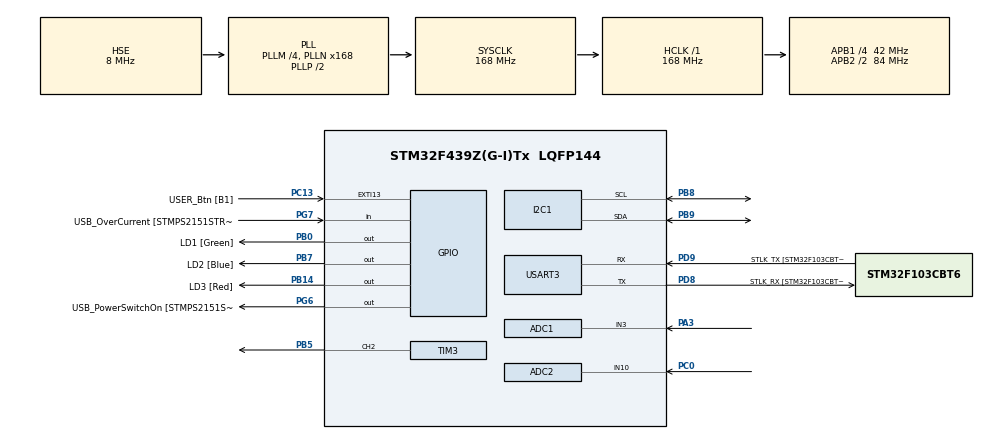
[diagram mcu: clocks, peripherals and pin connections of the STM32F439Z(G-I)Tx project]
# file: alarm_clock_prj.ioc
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ADC1.Channel-0\#ChannelRegularConversion=ADC_CHANNEL_3
ADC1.NbrOfConversionFlag=1
ADC1.Rank-0\#ChannelRegularConversion=1
ADC1.SamplingTime-0\#ChannelRegularConversion=ADC_SAMPLETIME_3CYCLES
ADC1.master=1
ADC2.Channel-0\#ChannelRegularConversion=ADC_CHANNEL_10
ADC2.NbrOfConversionFlag=1
ADC2.Rank-0\#ChannelRegularConversion=1
ADC2.SamplingTime-0\#ChannelRegularConversion=ADC_SAMPLETIME_3CYCLES
Mcu.Family=STM32F4
Mcu.Name=STM32F439Z(G-I)Tx
Mcu.Package=LQFP144
NVIC.ADC_IRQn=true\:0\:0\:false\:false\:true\:true\:true\:true
NVIC.EXTI15_10_IRQn=true\:0\:0\:false\:false\:true\:true\:true\:true
NVIC.I2C1_ER_IRQn=true\:0\:0\:false\:false\:true\:true\:true\:true
NVIC.I2C1_EV_IRQn=true\:0\:0\:false\:false\:true\:true\:true\:true
NVIC.PriorityGroup=NVIC_PRIORITYGROUP_4
NVIC.TIM2_IRQn=true\:0\:0\:false\:false\:true\:true\:true\:true
NVIC.USART3_IRQn=true\:0\:0\:false\:false\:true\:true\:true\:true
PA1.GPIO_Label=RMII_REF_CLK [LAN8742A-CZ-TR_REFCLK0]
PA1.Signal=ETH_REF_CLK
PA10.GPIO_Label=USB_ID
PA10.Signal=USB_OTG_FS_ID
PA11.GPIO_Label=USB_DM
PA11.Signal=USB_OTG_FS_DM
PA12.GPIO_Label=USB_DP
PA12.Signal=USB_OTG_FS_DP
PA13.GPIO_Label=TMS
PA13.Mode=Serial_Wire
PA13.Signal=SYS_JTMS-SWDIO
PA14.GPIO_Label=TCK
PA14.Mode=Serial_Wire
PA14.Signal=SYS_JTCK-SWCLK
PA2.GPIO_Label=RMII_MDIO [LAN8742A-CZ-TR_MDIO]
PA2.Signal=ETH_MDIO
PA3.Signal=ADCx_IN3
PA7.GPIO_Label=RMII_CRS_DV [LAN8742A-CZ-TR_CRS_DV]
PA7.Signal=ETH_CRS_DV
PA8.GPIO_Label=USB_SOF [TP1]
PA8.Signal=USB_OTG_FS_SOF
PA9.GPIO_Label=USB_VBUS
PA9.Signal=USB_OTG_FS_VBUS
PB0.GPIO_Label=LD1 [Green]
PB0.Signal=GPIO_Output
PB13.GPIO_Label=RMII_TXD1 [LAN8742A-CZ-TR_TXD1]
PB13.Signal=ETH_TXD1
PB14.GPIO_Label=LD3 [Red]
PB14.Signal=GPIO_Output
PB5.Signal=S_TIM3_CH2
PB7.GPIO_Label=LD2 [Blue]
PB7.Signal=GPIO_Output
PB8.Mode=I2C
PB8.Signal=I2C1_SCL
PB9.Mode=I2C
PB9.Signal=I2C1_SDA
PC0.Signal=ADCx_IN10
PC1.GPIO_Label=RMII_MDC [LAN8742A-CZ-TR_MDC]
PC1.Signal=ETH_MDC
PC13.GPIO_Label=USER_Btn [B1]
PC13.GPIO_ModeDefaultEXTI=GPIO_MODE_IT_RISING_FALLING
PC13.Signal=GPXTI13
PC14/OSC32_IN.Mode=LSE-External-Oscillator
PC14/OSC32_IN.Signal=RCC_OSC32_IN
PC15/OSC32_OUT.Mode=LSE-External-Oscillator
PC15/OSC32_OUT.Signal=RCC_OSC32_OUT
PC4.GPIO_Label=RMII_RXD0 [LAN8742A-CZ-TR_RXD0]
PC4.Signal=ETH_RXD0
PC5.GPIO_Label=RMII_RXD1 [LAN8742A-CZ-TR_RXD1]
PC5.Signal=ETH_RXD1
PD8.GPIO_Label=STLK_RX [STM32F103CBT6_PA3]
PD8.Mode=Asynchronous
PD8.Signal=USART3_TX
PD9.GPIO_Label=STLK_TX [STM32F103CBT6_PA2]
PD9.Mode=Asynchronous
PD9.Signal=USART3_RX
PG11.GPIO_Label=RMII_TX_EN [LAN8742A-CZ-TR_TXEN]
PG11.Signal=ETH_TX_EN
PG13.GPIO_Label=RMII_TXD0 [LAN8742A-CZ-TR_TXD0]
PG13.Signal=ETH_TXD0
PG6.GPIO_Label=USB_PowerSwitchOn [STMPS2151STR_EN]
PG6.Signal=GPIO_Output
PG7.GPIO_Label=USB_OverCurrent [STMPS2151STR_FAULT]
PG7.Signal=GPIO_Input
PH0/OSC_IN.GPIO_Label=MCO [STM32F103CBT6_PA8]
PH0/OSC_IN.Mode=HSE-External-Clock-Source
PH0/OSC_IN.Signal=RCC_OSC_IN
PH1/OSC_OUT.Mode=HSE-External-Clock-Source
PH1/OSC_OUT.Signal=RCC_OSC_OUT
ProjectManager.HeapSize=0x200
ProjectManager.StackSize=0x400
ProjectManager.TargetToolchain=STM32CubeIDE
RCC.48MHZClocksFreq_Value=48000000
RCC.AHBFreq_Value=168000000
RCC.APB1CLKDivider=RCC_HCLK_DIV4
RCC.APB1Freq_Value=42000000
RCC.APB1TimFreq_Value=84000000
RCC.APB2CLKDivider=RCC_HCLK_DIV2
RCC.APB2Freq_Value=84000000
RCC.APB2TimCLKDivider=2
RCC.APB2TimFreq_Value=168000000
RCC.CortexFreq_Value=168000000
RCC.HCLKFreq_Value=168000000
RCC.HSE_VALUE=8000000
RCC.HSI_VALUE=16000000
RCC.PLLM=4
RCC.PLLMUL=RCC_PLL_MUL9
RCC.PLLN=168
RCC.PLLQ=7
RCC.PLLSourceVirtual=RCC_PLLSOURCE_HSE
RCC.PRESCALERUSB=RCC_USBCLKSOURCE_PLL_DIV1_5
RCC.RCC_RTC_Clock_Source=RCC_RTCCLKSOURCE_LSE
RCC.RCC_RTC_Clock_SourceVirtual=RCC_RTCCLKSOURCE_LSE
RCC.SYSCLKFreq_VALUE=168000000
RCC.SYSCLKSource=RCC_SYSCLKSOURCE_PLLCLK
RCC.SYSCLKSourceVirtual=RCC_SYSCLKSOURCE_PLLCLK
RCC.USBFreq_Value=48000000
RCC.VCOOutputFreq_Value=336000000
SH.ADCx_IN10.0=ADC2_IN10,IN10
SH.ADCx_IN3.0=ADC1_IN3,IN3
SH.S_TIM3_CH2.0=TIM3_CH2,PWM Generation2 CH2
TIM2.Period=840
TIM2.Prescaler=1000
TIM3.AutoReloadPreload=TIM_AUTORELOAD_PRELOAD_ENABLE
TIM3.Channel-PWM\ Generation2\ CH2=TIM_CHANNEL_2
TIM3.Period=0
TIM3.Prescaler=83
USART3.VirtualMode=VM_ASYNC
VP_TIM2_VS_ClockSourceINT.Mode=Internal
VP_TIM3_VS_ClockSourceINT.Mode=Internal
board=NUCLEO-F439ZI

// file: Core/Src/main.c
/* USER CODE BEGIN Header */
/**
  ******************************************************************************
  * @file           : main.c
  * @brief          : Main program body
  ******************************************************************************
  * @attention
  *
  * Copyright (c) 2025 STMicroelectronics.
  * All rights reserved.
  *
  * This software is licensed under terms that can be found in the LICENSE file
  * in the root directory of this software component.
  * If no LICENSE file comes with this software, it is provided AS-IS.
  *
  ******************************************************************************
  */
/* USER CODE END Header */
#include "main.h"

/* USER CODE BEGIN Includes */

enum CLOCK_MODE{
	NORMAL_STATE,
	TIME_SETTING,
	ALARM_TIME_SETTING,
	MUSIC_SELECT,
	ALARM_TRIGGERED_STATE
};

enum CLOCK_MANIPULATE{
	NO_KEY,
	UP,
	DOWN,
	RIGHT,
	LEFT,
	SEL,
	DBL_SEL,
	LONG_SEL
};

struct clock_state{
	enum CLOCK_MODE mode;
	volatile enum CLOCK_MANIPULATE key;
	int music_num;
	int edit_pos;
	int alarm_enabled;
	int song_note_index;
	uint32_t note_end_time;
	int volume;
	uint32_t display_timeout_timer;
};

struct clock_state current_state;

uint32_t last_key_time = 0;

// 편집 위치 정의
enum EDIT_POS {
    POS_AMPM = 0,
    POS_HOUR,
    POS_MIN,
    POS_SEC,
	POS_ALARM_ONOFF
};
// 블링킹 제어용 변수
int blink_state = 0; // 0:보임, 1:숨김
int blink_timer = 0;
int blink_force = 0;

typedef struct {
  int8_t hours;
  int8_t minutes;
  int8_t seconds;
}TimeTypeDef;

TimeTypeDef ctime;  // current time
TimeTypeDef stime; // setting time
TimeTypeDef atime;  // alarm time

typedef struct {
  int8_t music_num;
  char music_title[16];
}MusicTypeDef;

MusicTypeDef alarm_music[] =
{
  {0,"School Bell"},
  {1,"For Elise"},
  {2,"Ode to Joy"},
};

/* Base address of the Flash sectors Bank 1 */
#define ADDR_FLASH_SECTOR_0     ((uint32_t)0x08000000) /* Base @ of Sector 0, 16 Kbytes */
#define ADDR_FLASH_SECTOR_1     ((uint32_t)0x08004000) /* Base @ of Sector 1, 16 Kbytes */
#define ADDR_FLASH_SECTOR_2     ((uint32_t)0x08008000) /* Base @ of Sector 2, 16 Kbytes */
#define ADDR_FLASH_SECTOR_3     ((uint32_t)0x0800C000) /* Base @ of Sector 3, 16 Kbytes */
#define ADDR_FLASH_SECTOR_4     ((uint32_t)0x08010000) /* Base @ of Sector 4, 64 Kbytes */
#define ADDR_FLASH_SECTOR_5     ((uint32_t)0x08020000) /* Base @ of Sector 5, 128 Kbytes */
#define ADDR_FLASH_SECTOR_6     ((uint32_t)0x08040000) /* Base @ of Sector 6, 128 Kbytes */
#define ADDR_FLASH_SECTOR_7     ((uint32_t)0x08060000) /* Base @ of Sector 7, 128 Kbytes */
#define ADDR_FLASH_SECTOR_8     ((uint32_t)0x08080000) /* Base @ of Sector 8, 128 Kbytes */
#define ADDR_FLASH_SECTOR_9     ((uint32_t)0x080A0000) /* Base @ of Sector 9, 128 Kbytes */
#define ADDR_FLASH_SECTOR_10    ((uint32_t)0x080C0000) /* Base @ of Sector 10, 128 Kbytes */
#define ADDR_FLASH_SECTOR_11    ((uint32_t)0x080E0000) /* Base @ of Sector 11, 128 Kbytes */

/* Base address of the Flash sectors Bank 2 */
#define ADDR_FLASH_SECTOR_12     ((uint32_t)0x08100000) /* Base @ of Sector 0, 16 Kbytes */
#define ADDR_FLASH_SECTOR_13     ((uint32_t)0x08104000) /* Base @ of Sector 1, 16 Kbytes */
#define ADDR_FLASH_SECTOR_14     ((uint32_t)0x08108000) /* Base @ of Sector 2, 16 Kbytes */
#define ADDR_FLASH_SECTOR_15     ((uint32_t)0x0810C000) /* Base @ of Sector 3, 16 Kbytes */
#define ADDR_FLASH_SECTOR_16     ((uint32_t)0x08110000) /* Base @ of Sector 4, 64 Kbytes */
#define ADDR_FLASH_SECTOR_17     ((uint32_t)0x08120000) /* Base @ of Sector 5, 128 Kbytes */
#define ADDR_FLASH_SECTOR_18     ((uint32_t)0x08140000) /* Base @ of Sector 6, 128 Kbytes */
#define ADDR_FLASH_SECTOR_19     ((uint32_t)0x08160000) /* Base @ of Sector 7, 128 Kbytes */
#define ADDR_FLASH_SECTOR_20     ((uint32_t)0x08180000) /* Base @ of Sector 8, 128 Kbytes  */
#define ADDR_FLASH_SECTOR_21     ((uint32_t)0x081A0000) /* Base @ of Sector 9, 128 Kbytes  */
#define ADDR_FLASH_SECTOR_22     ((uint32_t)0x081C0000) /* Base @ of Sector 10, 128 Kbytes */
#define ADDR_FLASH_SECTOR_23     ((uint32_t)0x081E0000) /* Base @ of Sector 11, 128 Kbytes */

#define MAGIC_NUM 0xdeadbeef

typedef struct {
  uint32_t magic_num;
  TimeTypeDef setting_time;
  TimeTypeDef alarm_time;
  int8_t alarm_music_num;
  int8_t alarm_enabled;
  int8_t volume;
}NVitemTypeDef;

#define nv_items  ((NVitemTypeDef *) ADDR_FLASH_SECTOR_23)

NVitemTypeDef default_nvitem =
{
  MAGIC_NUM,
  {0,0,0},
  {0,0,0},
  0,
  0,
  5
};
/* USER CODE END Includes */

ADC_HandleTypeDef hadc1;
ADC_HandleTypeDef hadc2;

I2C_HandleTypeDef hi2c1;

TIM_HandleTypeDef htim2;
TIM_HandleTypeDef htim3;

UART_HandleTypeDef huart3;

/* USER CODE BEGIN PV */
#define LONG_PRESS_MS 3000
#define DBL_CLICK_GAP_MS 220

/* USER CODE END PV */

void SystemClock_Config(void);
static void MX_GPIO_Init(void);
static void MX_USART3_UART_Init(void);
static void MX_TIM2_Init(void);
static void MX_ADC1_Init(void);
static void MX_ADC2_Init(void);
static void MX_I2C1_Init(void);
static void MX_TIM3_Init(void);
/* USER CODE BEGIN PFP */
void Process_Music_Select(void);
void Save_And_Display_Message(void);
void Process_Alarm_Triggered(void);
void Process_Alarm_Playback(void);
void Adjust_Volume(enum CLOCK_MANIPULATE direction);
/* USER CODE END PFP */

/* USER CODE BEGIN 0 */
// 음계 주파수 (Hz)
#define NOTE_C4  262
#define NOTE_D4  294
#define NOTE_E4  330
#define NOTE_F4  349
#define NOTE_G4  392
#define NOTE_GS4 415 // G#4 / Ab4
#define NOTE_A4  440
#define NOTE_B4  494
#define NOTE_C5  523
#define NOTE_CS5 554 // C#5
#define NOTE_D5  587
#define NOTE_DS5 622 // D#5
#define NOTE_E5  659
#define NOTE_F5  698
#define NOTE_G5  784
#define NOTE_GS5 831 // G#5
#define NOTE_A5  880
#define NOTE_B5  988
#define NOTE_C6  1047
#define NOTE_E6  1319
#define REST      0   // 쉼표

// Note structure for melodies
typedef struct {
    uint16_t frequency;
    uint16_t duration_ms;
} Note;

// Song 1: School Bell (Rhythmically Corrected & Staccato)
const Note school_bell[] = {
    {NOTE_G4, 200}, {REST, 2}, {NOTE_G4, 200}, {REST, 2}, {NOTE_A4, 200}, {REST, 2}, {NOTE_A4, 200}, {REST, 2},
    {NOTE_G4, 200}, {REST, 2}, {NOTE_G4, 200}, {REST, 2}, {NOTE_E4, 400}, {REST, 300},
    {NOTE_G4, 200}, {REST, 2}, {NOTE_G4, 200}, {REST, 2}, {NOTE_E4, 200}, {REST, 2}, {NOTE_E4, 200}, {REST, 2},
    {NOTE_D4, 400}, {REST, 300},
	{NOTE_G4, 200}, {REST, 2}, {NOTE_G4, 200}, {REST, 2}, {NOTE_A4, 200}, {REST, 2}, {NOTE_A4, 200}, {REST, 2},
	{NOTE_G4, 200}, {REST, 2}, {NOTE_G4, 200}, {REST, 2}, {NOTE_E4, 400}, {REST, 300},
	{NOTE_G4, 200}, {REST, 2}, {NOTE_E4, 200}, {REST, 2}, {NOTE_D4, 200}, {REST, 2}, {NOTE_E4, 200}, {REST, 2},
	{NOTE_C4, 400}, {REST, 500},
    {REST, 0} // End of song marker
};

// Song 2: For Elise (Rhythmically Corrected & Staccato)
const Note for_elise[] = {
    {NOTE_E5, 150}, {REST, 2}, {NOTE_DS5, 150}, {REST, 2}, {NOTE_E5, 150}, {REST, 2}, {NOTE_DS5, 150}, {REST, 2}, {NOTE_E5, 150}, {REST, 2}, {NOTE_B4, 150}, {REST, 2}, {NOTE_D5, 150}, {REST, 2}, {NOTE_C5, 150}, {REST, 2},
    {NOTE_A4, 300}, {REST, 150}, {NOTE_C4, 150}, {REST, 2}, {NOTE_E4, 150}, {REST, 2}, {NOTE_A4, 150}, {REST, 2}, {NOTE_B4, 300}, {REST, 150},
    {NOTE_E4, 150}, {REST, 2}, {NOTE_C5, 150}, {REST, 2}, {NOTE_B4, 150}, {REST, 2}, {NOTE_A4, 300},
    {REST, 0} // End of song marker
};

// Song 3: Super Mario Bros Intro (Rhythmically Corrected & Staccato)
const Note ode_to_joy[] = {
    // 미 미 파 솔 / 솔 파 미 레 / 도 도 레 미 / 미(점) 레 레
    {NOTE_E4, 250}, {REST, 10}, {NOTE_E4, 250}, {REST, 10}, {NOTE_F4, 250}, {REST, 10}, {NOTE_G4, 250}, {REST, 10},
    {NOTE_G4, 250}, {REST, 10}, {NOTE_F4, 250}, {REST, 10}, {NOTE_E4, 250}, {REST, 10}, {NOTE_D4, 250}, {REST, 10},
    {NOTE_C4, 250}, {REST, 10}, {NOTE_C4, 250}, {REST, 10}, {NOTE_D4, 250}, {REST, 10}, {NOTE_E4, 250}, {REST, 10},
    {NOTE_E4, 375}, {REST, 10}, {NOTE_D4, 125}, {REST, 10}, {NOTE_D4, 500}, {REST, 250},

    // 미 미 파 솔 / 솔 파 미 레 / 도 도 레 미 / 레(점) 도 도
    {NOTE_E4, 250}, {REST, 10}, {NOTE_E4, 250}, {REST, 10}, {NOTE_F4, 250}, {REST, 10}, {NOTE_G4, 250}, {REST, 10},
    {NOTE_G4, 250}, {REST, 10}, {NOTE_F4, 250}, {REST, 10}, {NOTE_E4, 250}, {REST, 10}, {NOTE_D4, 250}, {REST, 10},
    {NOTE_C4, 250}, {REST, 10}, {NOTE_C4, 250}, {REST, 10}, {NOTE_D4, 250}, {REST, 10}, {NOTE_E4, 250}, {REST, 10},
    {NOTE_D4, 375}, {REST, 10}, {NOTE_C4, 125}, {REST, 10}, {NOTE_C4, 500}, {REST, 500},

    {REST, 0} // End of song marker
};

// Array of song pointers
const Note* songs[] = {
    school_bell,
    for_elise,
    ode_to_joy
};

// Buzzer control functions (templates)
#define BUZZER_TIMER_CLK 1000000UL // Using 1MHz clock after prescaler
// TIM_HandleTypeDef htim3; // This is now declared in main.h via CubeMX

// Call this to start playing a note
void Buzzer_PlayNote(uint16_t frequency)
{
    if (frequency == 0 || current_state.volume == 0) {
        __HAL_TIM_SET_COMPARE(&htim3, TIM_CHANNEL_2, 0); // Off
        return;
    }
    // Calculate timer period for the desired frequency, based on 1MHz clock
    uint32_t period = BUZZER_TIMER_CLK / frequency;
    if (period > 65535) period = 65535; // Clamp to max 16-bit value

    // Calculate compare value based on volume (0-10)
    // We'll scale the duty cycle from 0% to 5% (max volume is now quieter)
    uint32_t compare_value = (period * current_state.volume) / 200; // (period / 20) * (volume / 10)

    __HAL_TIM_SET_AUTORELOAD(&htim3, period);
    __HAL_TIM_SET_COMPARE(&htim3, TIM_CHANNEL_2, compare_value);
}

// Call this to stop the buzzer
void Buzzer_Stop(void)
{
    HAL_TIM_PWM_Stop(&htim3, TIM_CHANNEL_2);
}

// Call this to start the buzzer PWM
void Buzzer_Start(void)
{
    HAL_TIM_PWM_Start(&htim3, TIM_CHANNEL_2);
}

//================ UART / tim Variance ==========================
volatile int timer_count = 0;
volatile int g_task_flag_1ms = 0;
volatile int g_task_flag_100ms = 0;
char rcv_byte;
char uart_buf[30];

//================ JoyStick ADC Variance ========================
volatile uint16_t g_adc_x_value = 0;
volatile uint16_t g_adc_y_value = 0;

static volatile uint32_t g_button_press_time = 0;      // Timestamp of the last button press
static volatile uint32_t g_button_last_release_time = 0; // Timestamp of the last button release
static volatile int g_button_click_count = 0;          // Number of clicks detected
static volatile int g_new_release_event = 0;           // Flag for a new button release event

//================== User Function ========================
void Time_Increment(TimeTypeDef *time)
{
    time->seconds++;

    if(time->seconds >= 60)
    {
        time->seconds = 0;
        time->minutes++;

        if(time->minutes >= 60)
        {
            time->minutes = 0;
            time->hours++;

            if(time->hours >= 24)
            {
                time->hours = 0;
            }
        }
    }
}

// blink_pos: 깜빡일 위치 (0~3), -1이면 깜빡임 없음
void lcd_time_display_ex(TimeTypeDef *time, int blink_pos)
{
    LCD_SetCursor(0, 1);

    // 임시 변수
    int h = time->hours;
    char ampm_str[3] = "AM";

    if(h >= 12) {
        strcpy(ampm_str, "PM");
        if (h > 12) h -= 12;
    }
    if (h == 0) h = 12; // 0시는 12 AM으로 표시

    // 1. AM/PM 출력 (blink_pos == 0 이고 blink_state == 1 이면 공백 출력)
    if (blink_pos == POS_AMPM && blink_state == 1) LCD_Print("  ");
    else LCD_Print(ampm_str);

    LCD_Print(" ");

    // 2. 시(Hour) 출력
    if (blink_pos == POS_HOUR && blink_state == 1) LCD_Print("  ");
    else LCD_Printf("%02d", h);

    LCD_Print(":");

    // 3. 분(Minute) 출력
    if (blink_pos == POS_MIN && blink_state == 1) LCD_Print("  ");
    else LCD_Printf("%02d", time->minutes);

    LCD_Print(":");

    // 4. 초(Second) 출력
    if (blink_pos == POS_SEC && blink_state == 1) LCD_Print("  ");
    else LCD_Printf("%02d", time->seconds);

	if (current_state.mode == NORMAL_STATE) {
		if (current_state.alarm_enabled) {
			LCD_Printf(" AL%d", current_state.music_num + 1);
		} else {
			LCD_Print("   ");
		}
	} else if (current_state.mode == ALARM_TIME_SETTING) {
		LCD_SetCursor(12, 1);
		if (blink_pos == POS_ALARM_ONOFF && blink_state == 1) {
			LCD_Print("   ");
		} else {
			if (current_state.alarm_enabled) {
				LCD_Print(" ON");
			} else {
				LCD_Print("OFF");
			}
		}
	}

}

void display_Click_Indicator(void)
{
    char bar[4] = "   ";

    // Long press animation (while button is physically pressed)
    if (g_button_press_time > 0) {
        uint32_t press_duration = HAL_GetTick() - g_button_press_time;
        // Animation fills from the right over 2.5 seconds
        if (press_duration > 833) bar[2] = 0b11111111;
        if (press_duration > 1666) bar[1] = 0b11111111;
        if (press_duration >= 2500) bar[0] = 0b11111111;
    }
    // If button is not pressed, the "   " will clear the area.

    LCD_SetCursor(13, 0); // Draw at columns 13, 14, 15
    LCD_Print(bar);
}

void display_Handler(void)
{
    #define BLINK_SUPPRESS_MS 500 // Suppress blinking for 500ms after key activity

    // Suppress blinking for a short period after joystick activity in setting modes
    if (current_state.mode == TIME_SETTING || current_state.mode == ALARM_TIME_SETTING) {
        if (HAL_GetTick() - last_key_time < BLINK_SUPPRESS_MS) {
            blink_state = 0; // Keep display on
            blink_force = 1; // Prevent blink timer from running
        }
    }

    // Blink timer processing
    if(blink_force == 0){
		blink_timer++;
		if(blink_timer > 2) { // Assuming 100ms cycle, this is 300ms.
			blink_state = !blink_state;
			blink_timer = 0;
		}
    }

    blink_force = 0; // Reset force flag every cycle

    LCD_SetCursor(0, 0);

    switch (current_state.mode)
    {
    case NORMAL_STATE:
    	#define VOLUME_DISPLAY_TIMEOUT 2000 // 2 seconds
		// If the volume has been adjusted recently, show the volume bar instead of the clock title
		if (current_state.display_timeout_timer > 0 && (HAL_GetTick() - current_state.display_timeout_timer < VOLUME_DISPLAY_TIMEOUT))
		{
			// Show volume bar
			char vol_bar[17];
			int i;
			for(i = 0; i < 10; i++)
			{
				if(i < current_state.volume) vol_bar[i] = 0b11111111; // Solid block character
				else vol_bar[i] = '-';
			}
			vol_bar[10] = '\0';

			LCD_SetCursor(0, 0);
			LCD_Printf("Volume: %-10s", ""); // Clear line
			LCD_SetCursor(0, 1);
			LCD_Printf("[%s] %2d", vol_bar, current_state.volume);
		}
		else
		{
			// Show normal clock
			current_state.display_timeout_timer = 0; // Ensure it's off
			LCD_Print("H's Clock     ");
			// 일반 모드에서는 깜빡임 없음 (-1)
			lcd_time_display_ex(&ctime, -1);
		}
        break;

    case TIME_SETTING:
        LCD_Print("Time Setting  ");
        // 현재 edit_pos 위치를 깜빡이게 함
        lcd_time_display_ex(&stime, current_state.edit_pos);
        break;

    case ALARM_TIME_SETTING:
        LCD_Print("Alarm Setting ");
        // 알람 설정 시에도 동일하게 커서 사용 가능
        lcd_time_display_ex(&atime, current_state.edit_pos);
        break;
    case MUSIC_SELECT:
		LCD_Print("Select Music:");
		LCD_SetCursor(0,1);
		LCD_Printf("> %-14s", alarm_music[current_state.music_num].music_title);
		break;
    case ALARM_TRIGGERED_STATE:
		if (blink_state) {
			LCD_SetCursor(0, 0);
			LCD_Print("   Alarm!!!     ");
		} else {
			LCD_SetCursor(0, 0);
			LCD_Print("                ");
		}
		// Also show the current time
		lcd_time_display_ex(&ctime, -1);
		break;
    }
	display_Click_Indicator();
}

void lcd_time_display(TimeTypeDef *time)
{

    LCD_SetCursor(0, 1);
  if(time->hours>=12)
  {
    LCD_Printf("PM");
    time->hours = time->hours - 12;
  }
  else
  {
    LCD_Printf("AM");
  }
  LCD_Printf(" %02d:%02d:%02d",time->hours,time->minutes,time->seconds);

}

// 조이스틱 값을 방향키로 변환 (with auto-repeat)
typedef struct {
    enum CLOCK_MANIPULATE last_key;
    uint32_t first_press_time;
    uint32_t last_repeat_time;
    int is_repeating;
} JoystickRepeat_t;

static JoystickRepeat_t joy_repeat_state = {NO_KEY, 0, 0, 0};

void Process_Joystick_With_Repeat(void)
{
    #define REPEAT_DELAY_MS 500  // Time before repeat starts
    #define REPEAT_RATE_MS  150  // Repeat rate after it starts

    enum CLOCK_MANIPULATE current_key = NO_KEY;
    uint32_t now = HAL_GetTick();

    // If a key from another source (like a button) is being processed, do nothing.
    // However, we still check for joystick release to reset the state.
    if (current_state.key != NO_KEY) {
        if (g_adc_y_value < 2730 && g_adc_y_value > 1365 && g_adc_x_value < 2730 && g_adc_x_value > 1365) {
            joy_repeat_state.last_key = NO_KEY;
            joy_repeat_state.is_repeating = 0;
        }
        return;
    }

    // 1. Detect current hardware key state
    if (g_adc_y_value > 2730) current_key = UP;
    else if (g_adc_y_value < 1365) current_key = DOWN;
    else if (g_adc_x_value > 2730) current_key = RIGHT;
    else if (g_adc_x_value < 1365) current_key = LEFT;

    // 2. Process state changes and repeat logic
    if (current_key != NO_KEY) {
        if (joy_repeat_state.last_key != current_key) {
            // New key pressed: fire once immediately
            current_state.key = current_key;
            joy_repeat_state.last_key = current_key;
            joy_repeat_state.first_press_time = now;
            joy_repeat_state.last_repeat_time = now;
            joy_repeat_state.is_repeating = 0;
        } else {
            // Key is being held
            if (!joy_repeat_state.is_repeating) {
                if (now - joy_repeat_state.first_press_time > REPEAT_DELAY_MS) {
                    joy_repeat_state.is_repeating = 1;
                    joy_repeat_state.last_repeat_time = now;
                    current_state.key = current_key; // Start repeating
                }
            }
            else { // Already repeating
                if (now - joy_repeat_state.last_repeat_time > REPEAT_RATE_MS) {
                    joy_repeat_state.last_repeat_time = now;
                    current_state.key = current_key; // Fire repeat event
                }
            }
        }
    } else { // No key is physically pressed: reset state
        joy_repeat_state.last_key = NO_KEY;
        joy_repeat_state.is_repeating = 0;
    }
}

//============= Timer, GPIO, UART, ADC Callback ==================

void HAL_TIM_PeriodElapsedCallback(TIM_HandleTypeDef *htim)
{
  if(htim->Instance==TIM2)
  {
	  // 1ms tick
	  g_task_flag_1ms = 1;
	  timer_count++;

	  // 100ms tick
	  if ((timer_count % 100) == 0) // Now 100 counts for 100ms
	  {
		  g_task_flag_100ms = 1;
	  }

	  // 1-second tick
	  if (timer_count >= 1000) // Now 1000 counts for 1s
	  {
		  Time_Increment(&ctime);
		  timer_count = 0;

          // Check for alarm condition
          if (current_state.mode == NORMAL_STATE && current_state.alarm_enabled)
          {
              if (ctime.hours == atime.hours && ctime.minutes == atime.minutes && ctime.seconds == atime.seconds)
              {
                  current_state.mode = ALARM_TRIGGERED_STATE;
                  // Start playing the music from the beginning
                  current_state.song_note_index = 0;
                  current_state.note_end_time = HAL_GetTick();
                  Buzzer_Start();
              }
          }
	  }
  }
}

void HAL_GPIO_EXTI_Callback(uint16_t GPIO_Pin)
{
	if (GPIO_Pin == USER_Btn_Pin)
	{
		// This ISR now simply flags a release event after a press.
		if (HAL_GPIO_ReadPin(USER_Btn_GPIO_Port, USER_Btn_Pin) == GPIO_PIN_SET)
		{
			// Button is pressed down. Record the initial time if not already pressed.
			if (g_button_press_time == 0) {
				g_button_press_time = HAL_GetTick();
			}
		}
		else
		{
			// Button is released. Only flag a release if a press was recorded.
			if (g_button_press_time > 0) {
				g_button_last_release_time = HAL_GetTick();
				g_new_release_event = 1; // Signal that a full press-release cycle occurred.
			}
		}
	}
}

void HAL_UART_RxCpltCallback(UART_HandleTypeDef *huart)
{
  if (huart->Instance == USART3)
  {
	    /* Transmit one byte with 100 ms timeout */
//	HAL_UART_Transmit(&huart3, &rcv_byte, 1, 100);
	HAL_UART_Receive_IT(&huart3, &rcv_byte, 1);
	/* Receive one byte in interrupt mode */
  }
}

void HAL_ADC_ConvCpltCallback(ADC_HandleTypeDef *hadc)
{
	if(hadc == &hadc1)
	{
		g_adc_x_value = HAL_ADC_GetValue(&hadc1);
		HAL_ADC_Start_IT(&hadc2);
	}
	else if(hadc == &hadc2)
	{
		g_adc_y_value = HAL_ADC_GetValue(&hadc2);
		HAL_ADC_Start_IT(&hadc1);

	}
}

//==================== Process State ==========================

// Hybrid Button Processing - Shared Variables & Processing Function
// These are shared between the GPIO ISR and the periodic processing task.
// 'volatile' ensures the compiler always reads them from memory, as they can change unexpectedly.

/**
  * @brief Processes time-based button events (long press, double click timeouts).
  * @note  This function is designed to be called periodically by a fast timer (e.g., 10ms).
  *        It checks the state variables set by the HAL_GPIO_EXTI_Callback.
  */
void Process_Button_Events(void)
{
    uint32_t now = HAL_GetTick();

    // If an event is already pending, wait for it to be processed.
    if (current_state.key != NO_KEY) {
        return;
    }

    // --- Time-based Logic ---

    // Part 1: Real-time long press detection (while button is held down)
    if (g_button_press_time > 0 && !g_new_release_event)
    {
        if (now - g_button_press_time >= LONG_PRESS_MS)
        {
            printf("LC\r\n");
            current_state.key = LONG_SEL;
            g_button_press_time = 0;  // Consume the event to prevent re-triggering.
            g_button_click_count = 0; // A long press is not a click.
        }
    }

    // Part 2: Process a completed press-and-release cycle for short clicks.
    if (g_new_release_event)
    {
        // Check if the press was already handled as a long press above.
        if (g_button_press_time > 0)
        {
            // If press_time is still valid, it means it was not a long press.
            g_button_click_count++;
        }
        // Consume the event by resetting the state variables.
        g_button_press_time = 0;
        g_new_release_event = 0;
    }

    // Part 3: Process counted clicks after the double-click timeout window.
    if (g_button_click_count > 0 && (now - g_button_last_release_time > DBL_CLICK_GAP_MS))
    {
        if (g_button_click_count == 1) {
        	printf("C\r\n");
            current_state.key = SEL; // It was a single click.
        } else { // 2 or more clicks
        	printf("DC\r\n");
            current_state.key = DBL_SEL; // It was a double click.
        }
        g_button_click_count = 0; // Consume the click events.
    }
}

void Process_Normal_State(void)
{
    // Input is now handled in the main loop.

    if (current_state.key == LONG_SEL)
    {
		current_state.mode = ALARM_TIME_SETTING;
		current_state.edit_pos = POS_HOUR; // Start editing at hour
		LCD_Clear();
    }
    else if (current_state.key == DBL_SEL)
    {
    	current_state.mode = MUSIC_SELECT;
    	LCD_Clear();
    }

	// Consume the key, whether it was handled or not, to prevent getting stuck.
	current_state.key = NO_KEY;
}

void Process_Time_Setting(void)
{
    // 키 입력이 없으면 종료
    if (current_state.key == NO_KEY) return;

    switch (current_state.key)
    {
    // 1. 좌우 이동 (커서 변경)
    case RIGHT:
        current_state.edit_pos++;
        if (current_state.edit_pos > POS_SEC) current_state.edit_pos = POS_AMPM;
        blink_timer = 0; blink_state = 1; // Reset blink to hide, to start blinking immediately
        break;

    case LEFT:
        current_state.edit_pos--;
        if (current_state.edit_pos < POS_AMPM) current_state.edit_pos = POS_SEC;
        blink_timer = 0; blink_state = 1; // Reset blink to hide, to start blinking immediately
        break;

    // 2. 상하 이동 (값 변경)
    case UP:
        last_key_time = HAL_GetTick(); // Suppress blinking
        switch(current_state.edit_pos) {
            case POS_AMPM: // 12시간 더하면 AM/PM 토글됨
                stime.hours = (stime.hours + 12) % 24;
                break;
            case POS_HOUR:
                stime.hours++;
                if(stime.hours >= 24) stime.hours = 0;
                break;
            case POS_MIN:
                stime.minutes++;
                if(stime.minutes >= 60) stime.minutes = 0;
                break;
            case POS_SEC:
                stime.seconds++;
                if(stime.seconds >= 60) stime.seconds = 0;
                break;
        }
        break;

    case DOWN:
        last_key_time = HAL_GetTick(); // Suppress blinking
        switch(current_state.edit_pos) {
            case POS_AMPM:
                stime.hours = (stime.hours + 12) % 24;
                break;
            case POS_HOUR:
                stime.hours--;
                if(stime.hours < 0) stime.hours = 23;
                break;
            case POS_MIN:
                stime.minutes--;
                if(stime.minutes < 0) stime.minutes = 59;
                break;
            case POS_SEC:
                stime.seconds--;
                if(stime.seconds < 0) stime.seconds = 59;
                break;
        }
        break;

    // 3. 설정 완료 (SEL 버튼)
    case SEL:
    case DBL_SEL:
    case LONG_SEL:
        ctime = stime; // 설정값 적용
        Save_And_Display_Message();
        break;
    }

    // 키 처리 후 초기화 (연속 입력 방지용, 혹은 딜레이 필요)
    current_state.key = NO_KEY;
}

void Process_Alarm_Setting(void)
{
    // 키 입력이 없으면 종료
    if (current_state.key == NO_KEY) return;

    switch (current_state.key)
    {
    // 1. 좌우 이동 (커서 변경)
    case RIGHT:
        current_state.edit_pos++;
        if (current_state.edit_pos > POS_ALARM_ONOFF) current_state.edit_pos = POS_AMPM;
        blink_timer = 0; blink_state = 1; // Reset blink to hide, to start blinking immediately
        break;

    case LEFT:
        current_state.edit_pos--;
        if (current_state.edit_pos < POS_AMPM) current_state.edit_pos = POS_ALARM_ONOFF;
        blink_timer = 0; blink_state = 1; // Reset blink to hide, to start blinking immediately
        break;

    // 2. 상하 이동 (값 변경)
    case UP:
        last_key_time = HAL_GetTick(); // Suppress blinking
        if(current_state.edit_pos == POS_ALARM_ONOFF) {
			current_state.alarm_enabled = !current_state.alarm_enabled;
		}
		else
		{
			switch(current_state.edit_pos) {
				case POS_AMPM: // 12시간 더하면 AM/PM 토글됨
					atime.hours = (atime.hours + 12) % 24;
					break;
				case POS_HOUR:
					atime.hours++;
					if(atime.hours >= 24) atime.hours = 0;
					break;
				case POS_MIN:
					atime.minutes++;
					if(atime.minutes >= 60) atime.minutes = 0;
					break;
				case POS_SEC:
					atime.seconds++;
					if(atime.seconds >= 60) atime.seconds = 0;
					break;
			}
		}
        break;

    case DOWN:
        last_key_time = HAL_GetTick(); // Suppress blinking
		if(current_state.edit_pos == POS_ALARM_ONOFF) {
			current_state.alarm_enabled = !current_state.alarm_enabled;
		}
		else
		{
			switch(current_state.edit_pos) {
				case POS_AMPM:
					atime.hours = (atime.hours + 12) % 24;
					break;
				case POS_HOUR:
					atime.hours--;
					if(atime.hours < 0) atime.hours = 23;
					break;
				case POS_MIN:
					atime.minutes--;
					if(atime.minutes < 0) atime.minutes = 59;
					break;
				case POS_SEC:
					atime.seconds--;
					if(atime.seconds < 0) atime.seconds = 59;
					break;
			}
		}
        break;

    // 3. 설정 완료 (SEL 버튼)
    case SEL:
    case DBL_SEL:
    case LONG_SEL:
    	Save_And_Display_Message();
        break;
    }

    // 키 처리 후 초기화 (연속 입력 방지용, 혹은 딜레이 필요)
    current_state.key = NO_KEY;
}

void Process_Music_Select(void)
{
    if (current_state.key == NO_KEY) return;

    switch (current_state.key)
    {
        case UP:
            current_state.music_num++;
            if (current_state.music_num >= 3) // 3 songs total
            {
                current_state.music_num = 0;
            }
            break;
        case DOWN:
            current_state.music_num--;
            if (current_state.music_num < 0)
            {
                current_state.music_num = 2; // Loop back to the last song
            }
            break;
        case SEL:
        case DBL_SEL:
        case LONG_SEL:
        	Save_And_Display_Message();
            break;
    }
    // 키 처리 후 초기화 (연속 입력 방지용, 혹은 딜레이 필요)
    current_state.key = NO_KEY;
}

void Adjust_Volume(enum CLOCK_MANIPULATE direction)
{
    if (direction == UP)
    {
        current_state.volume++;
        if (current_state.volume > 10) current_state.volume = 10;
    }
    else // DOWN
    {
        current_state.volume--;
        if (current_state.volume < 0) current_state.volume = 0;
    }
    // Set the display timeout timer to now, to show the volume bar
    current_state.display_timeout_timer = HAL_GetTick();
}

void Process_Alarm_Triggered(void)
{
    // Any key press stops the alarm
    if (current_state.key == SEL)
    {
        Buzzer_Stop(); // Stop the sound
        current_state.mode = NORMAL_STATE; // Go back to normal
        current_state.key = NO_KEY; // Consume the key
        LCD_Clear();
    }
}

void Process_Alarm_Playback(void)
{
    uint32_t now = HAL_GetTick();

    // Time to play the next note?
    if (now >= current_state.note_end_time)
    {
        const Note* current_song = songs[current_state.music_num];
        Note current_note = current_song[current_state.song_note_index];

        // Play the note
        Buzzer_PlayNote(current_note.frequency);

        // Set the end time for this note
        current_state.note_end_time = now + current_note.duration_ms;

        // Move to the next note
        current_state.song_note_index++;

        // End of song? Check for the {REST, 0} marker which indicates the end.
        if (current_song[current_state.song_note_index].duration_ms == 0 && current_song[current_state.song_note_index].frequency == REST)
        {
            // Loop back to the beginning to repeat the song
            current_state.song_note_index = 0;
        }
    }
}

void Save_And_Display_Message(void)
{
	// Show "Saving..." message first
	LCD_Clear();
	LCD_SetCursor(0, 0);
	LCD_Print("Saving...");

	// Perform the blocking save operation.
	// The message will be visible on the LCD while the MCU is busy here.
	Save_Settings_To_Flash();

	// Done, go back to normal state
	LCD_Clear();
	current_state.mode = NORMAL_STATE;
}

//===================== printf Description ==============================

#ifdef __GNUC__
  /* With GCC, small printf (option LD Linker->Libraries->Small printf
     set to 'Yes') calls __io_putchar() */
  #define PUTCHAR_PROTOTYPE int __io_putchar(int ch)
#else
  #define PUTCHAR_PROTOTYPE int fputc(int ch, FILE *f)
#endif /* __GNUC__ */

PUTCHAR_PROTOTYPE
{
  /* Place your implementation of fputc here */
  /* e.g. write a character to the EVAL_COM1 and Loop until the end of transmission */
  HAL_UART_Transmit(&huart3, (uint8_t *)&ch, 1, 0xFFFF);

  return ch;
}

/* USER CODE END 0 */

int main(void)
{

  /* MCU Configuration--------------------------------------------------------*/

  /* Reset of all peripherals, Initializes the Flash interface and the Systick. */
  HAL_Init();

  /* Configure the system clock */
  SystemClock_Config();

  /* Initialize all configured peripherals */
  MX_GPIO_Init();
  MX_USART3_UART_Init();
  MX_TIM2_Init();
  MX_ADC1_Init();
  MX_ADC2_Init();
  MX_I2C1_Init();
  MX_TIM3_Init();
  /* USER CODE BEGIN 2 */
  Load_Settings_From_Flash();

  LCD_Init(&hi2c1);
  LCD_Backlight(1);
  LCD_SetCursor(0, 0);
  LCD_Print("H's Clock");
  HAL_TIM_Base_Init(&htim2);
  HAL_TIM_Base_Start_IT(&htim2);
  HAL_UART_Receive_IT(&huart3, &rcv_byte, 1);
  HAL_ADC_Start_IT(&hadc1);

  current_state.key = NO_KEY;

  /* USER CODE END 2 */

  /* Infinite loop */
  while (1)
  {
	  int needs_display_update = 0;

	  // --- 1ms Task ---
	  // High-frequency tasks like input processing
	  if (g_task_flag_1ms)
	  {
		  g_task_flag_1ms = 0;

		  // 1. First, process the current state's periodic tasks
		  if (current_state.mode == ALARM_TRIGGERED_STATE)
		  {
			  Process_Alarm_Playback();
		  }

		  // 2. Process physical inputs
		  Process_Button_Events();
		  Process_Joystick_With_Repeat();

		  // Handle low-priority joystick inputs for NORMAL_STATE
		  if (current_state.mode == NORMAL_STATE && (current_state.key == UP || current_state.key == DOWN))
		  {
			  Adjust_Volume(current_state.key);
			  current_state.key = NO_KEY; // Consume the key
			  needs_display_update = 1;
		  }

		  // 3. If a key event was generated, process it based on the current state
		  if (current_state.key != NO_KEY)
		  {
			   switch (current_state.mode)
			   {
				   case NORMAL_STATE:
					   Process_Normal_State();
					   break;
				   case TIME_SETTING:
					   Process_Time_Setting();
					   break;
				   case ALARM_TIME_SETTING:
					  Process_Alarm_Setting();
					   break;
				   case MUSIC_SELECT:
					  Process_Music_Select();
					   break;
				   case ALARM_TRIGGERED_STATE:
					  Process_Alarm_Triggered();
					   break;
			   }
			   // An action was taken based on input, so update the display immediately.
			   needs_display_update = 1;
		  }
	  }

	  // --- 100ms Task ---
	  // Low-frequency tasks like regular display updates
	  if (g_task_flag_100ms)
	  {
		  g_task_flag_100ms = 0;
		  needs_display_update = 1; // Schedule a regular display update.
	  }

	  // --- Display Update ---
	  // Consolidate all display updates here.
	  if (needs_display_update)
	  {
		  display_Handler();
		  needs_display_update = 0; // Consume the flag
	  }

  }
}

void SystemClock_Config(void)
{
  RCC_OscInitTypeDef RCC_OscInitStruct = {0};
  RCC_ClkInitTypeDef RCC_ClkInitStruct = {0};

  /** Configure the main internal regulator output voltage
  */
  __HAL_RCC_PWR_CLK_ENABLE();
  __HAL_PWR_VOLTAGESCALING_CONFIG(PWR_REGULATOR_VOLTAGE_SCALE1);

  /** Initializes the RCC Oscillators according to the specified parameters
  * in the RCC_OscInitTypeDef structure.
  */
  RCC_OscInitStruct.OscillatorType = RCC_OSCILLATORTYPE_HSE;
  RCC_OscInitStruct.HSEState = RCC_HSE_BYPASS;
  RCC_OscInitStruct.PLL.PLLState = RCC_PLL_ON;
  RCC_OscInitStruct.PLL.PLLSource = RCC_PLLSOURCE_HSE;
  RCC_OscInitStruct.PLL.PLLM = 4;
  RCC_OscInitStruct.PLL.PLLN = 168;
  RCC_OscInitStruct.PLL.PLLP = RCC_PLLP_DIV2;
  RCC_OscInitStruct.PLL.PLLQ = 7;
  if (HAL_RCC_OscConfig(&RCC_OscInitStruct) != HAL_OK)
  {
    Error_Handler();
  }

  /** Initializes the CPU, AHB and APB buses clocks
  */
  RCC_ClkInitStruct.ClockType = RCC_CLOCKTYPE_HCLK|RCC_CLOCKTYPE_SYSCLK
                              |RCC_CLOCKTYPE_PCLK1|RCC_CLOCKTYPE_PCLK2;
  RCC_ClkInitStruct.SYSCLKSource = RCC_SYSCLKSOURCE_PLLCLK;
  RCC_ClkInitStruct.AHBCLKDivider = RCC_SYSCLK_DIV1;
  RCC_ClkInitStruct.APB1CLKDivider = RCC_HCLK_DIV4;
  RCC_ClkInitStruct.APB2CLKDivider = RCC_HCLK_DIV2;

  if (HAL_RCC_ClockConfig(&RCC_ClkInitStruct, FLASH_LATENCY_5) != HAL_OK)
  {
    Error_Handler();
  }
}

static void MX_ADC1_Init(void)
{

  ADC_ChannelConfTypeDef sConfig = {0};

  /** Configure the global features of the ADC (Clock, Resolution, Data Alignment and number of conversion)
  */
  hadc1.Instance = ADC1;
  hadc1.Init.ClockPrescaler = ADC_CLOCK_SYNC_PCLK_DIV4;
  hadc1.Init.Resolution = ADC_RESOLUTION_12B;
  hadc1.Init.ScanConvMode = DISABLE;
  hadc1.Init.ContinuousConvMode = DISABLE;
  hadc1.Init.DiscontinuousConvMode = DISABLE;
  hadc1.Init.ExternalTrigConvEdge = ADC_EXTERNALTRIGCONVEDGE_NONE;
  hadc1.Init.ExternalTrigConv = ADC_SOFTWARE_START;
  hadc1.Init.DataAlign = ADC_DATAALIGN_RIGHT;
  hadc1.Init.NbrOfConversion = 1;
  hadc1.Init.DMAContinuousRequests = DISABLE;
  hadc1.Init.EOCSelection = ADC_EOC_SINGLE_CONV;
  if (HAL_ADC_Init(&hadc1) != HAL_OK)
  {
    Error_Handler();
  }

  /** Configure for the selected ADC regular channel its corresponding rank in the sequencer and its sample time.
  */
  sConfig.Channel = ADC_CHANNEL_3;
  sConfig.Rank = 1;
  sConfig.SamplingTime = ADC_SAMPLETIME_3CYCLES;
  if (HAL_ADC_ConfigChannel(&hadc1, &sConfig) != HAL_OK)
  {
    Error_Handler();
  }

}

static void MX_ADC2_Init(void)
{

  ADC_ChannelConfTypeDef sConfig = {0};

  /** Configure the global features of the ADC (Clock, Resolution, Data Alignment and number of conversion)
  */
  hadc2.Instance = ADC2;
  hadc2.Init.ClockPrescaler = ADC_CLOCK_SYNC_PCLK_DIV4;
  hadc2.Init.Resolution = ADC_RESOLUTION_12B;
  hadc2.Init.ScanConvMode = DISABLE;
  hadc2.Init.ContinuousConvMode = DISABLE;
  hadc2.Init.DiscontinuousConvMode = DISABLE;
  hadc2.Init.ExternalTrigConvEdge = ADC_EXTERNALTRIGCONVEDGE_NONE;
  hadc2.Init.ExternalTrigConv = ADC_SOFTWARE_START;
  hadc2.Init.DataAlign = ADC_DATAALIGN_RIGHT;
  hadc2.Init.NbrOfConversion = 1;
  hadc2.Init.DMAContinuousRequests = DISABLE;
  hadc2.Init.EOCSelection = ADC_EOC_SINGLE_CONV;
  if (HAL_ADC_Init(&hadc2) != HAL_OK)
  {
    Error_Handler();
  }

  /** Configure for the selected ADC regular channel its corresponding rank in the sequencer and its sample time.
  */
  sConfig.Channel = ADC_CHANNEL_10;
  sConfig.Rank = 1;
  sConfig.SamplingTime = ADC_SAMPLETIME_3CYCLES;
  if (HAL_ADC_ConfigChannel(&hadc2, &sConfig) != HAL_OK)
  {
    Error_Handler();
  }

}

static void MX_I2C1_Init(void)
{

  hi2c1.Instance = I2C1;
  hi2c1.Init.ClockSpeed = 100000;
  hi2c1.Init.DutyCycle = I2C_DUTYCYCLE_2;
  hi2c1.Init.OwnAddress1 = 0;
  hi2c1.Init.AddressingMode = I2C_ADDRESSINGMODE_7BIT;
  hi2c1.Init.DualAddressMode = I2C_DUALADDRESS_DISABLE;
  hi2c1.Init.OwnAddress2 = 0;
  hi2c1.Init.GeneralCallMode = I2C_GENERALCALL_DISABLE;
  hi2c1.Init.NoStretchMode = I2C_NOSTRETCH_DISABLE;
  if (HAL_I2C_Init(&hi2c1) != HAL_OK)
  {
    Error_Handler();
  }

  /** Configure Analogue filter
  */
  if (HAL_I2CEx_ConfigAnalogFilter(&hi2c1, I2C_ANALOGFILTER_ENABLE) != HAL_OK)
  {
    Error_Handler();
  }

  /** Configure Digital filter
  */
  if (HAL_I2CEx_ConfigDigitalFilter(&hi2c1, 0) != HAL_OK)
  {
    Error_Handler();
  }

}

static void MX_TIM2_Init(void)
{

  TIM_ClockConfigTypeDef sClockSourceConfig = {0};
  TIM_MasterConfigTypeDef sMasterConfig = {0};

  htim2.Instance = TIM2;
  htim2.Init.Prescaler = 83; // For 1ms tick (84MHz / (83+1) = 1MHz counter clock)
  htim2.Init.CounterMode = TIM_COUNTERMODE_UP;
  htim2.Init.Period = 999;  // For 1ms tick (1MHz / (999+1) = 1kHz interrupt)
  htim2.Init.ClockDivision = TIM_CLOCKDIVISION_DIV1;
  htim2.Init.AutoReloadPreload = TIM_AUTORELOAD_PRELOAD_DISABLE;
  if (HAL_TIM_Base_Init(&htim2) != HAL_OK)
  {
    Error_Handler();
  }
  sClockSourceConfig.ClockSource = TIM_CLOCKSOURCE_INTERNAL;
  if (HAL_TIM_ConfigClockSource(&htim2, &sClockSourceConfig) != HAL_OK)
  {
    Error_Handler();
  }
  sMasterConfig.MasterOutputTrigger = TIM_TRGO_RESET;
  sMasterConfig.MasterSlaveMode = TIM_MASTERSLAVEMODE_DISABLE;
  if (HAL_TIMEx_MasterConfigSynchronization(&htim2, &sMasterConfig) != HAL_OK)
  {
    Error_Handler();
  }

}

static void MX_TIM3_Init(void)
{

  TIM_ClockConfigTypeDef sClockSourceConfig = {0};
  TIM_MasterConfigTypeDef sMasterConfig = {0};
  TIM_OC_InitTypeDef sConfigOC = {0};

  htim3.Instance = TIM3;
  htim3.Init.Prescaler = 83;
  htim3.Init.CounterMode = TIM_COUNTERMODE_UP;
  htim3.Init.Period = 1000;
  htim3.Init.ClockDivision = TIM_CLOCKDIVISION_DIV1;
  htim3.Init.AutoReloadPreload = TIM_AUTORELOAD_PRELOAD_ENABLE;
  if (HAL_TIM_Base_Init(&htim3) != HAL_OK)
  {
    Error_Handler();
  }
  sClockSourceConfig.ClockSource = TIM_CLOCKSOURCE_INTERNAL;
  if (HAL_TIM_ConfigClockSource(&htim3, &sClockSourceConfig) != HAL_OK)
  {
    Error_Handler();
  }
  if (HAL_TIM_PWM_Init(&htim3) != HAL_OK)
  {
    Error_Handler();
  }
  sMasterConfig.MasterOutputTrigger = TIM_TRGO_RESET;
  sMasterConfig.MasterSlaveMode = TIM_MASTERSLAVEMODE_DISABLE;
  if (HAL_TIMEx_MasterConfigSynchronization(&htim3, &sMasterConfig) != HAL_OK)
  {
    Error_Handler();
  }
  sConfigOC.OCMode = TIM_OCMODE_PWM1;
  sConfigOC.Pulse = 0;
  sConfigOC.OCPolarity = TIM_OCPOLARITY_HIGH;
  sConfigOC.OCFastMode = TIM_OCFAST_DISABLE;
  if (HAL_TIM_PWM_ConfigChannel(&htim3, &sConfigOC, TIM_CHANNEL_2) != HAL_OK)
  {
    Error_Handler();
  }
  HAL_TIM_MspPostInit(&htim3);

}

static void MX_USART3_UART_Init(void)
{

  huart3.Instance = USART3;
  huart3.Init.BaudRate = 115200;
  huart3.Init.WordLength = UART_WORDLENGTH_8B;
  huart3.Init.StopBits = UART_STOPBITS_1;
  huart3.Init.Parity = UART_PARITY_NONE;
  huart3.Init.Mode = UART_MODE_TX_RX;
  huart3.Init.HwFlowCtl = UART_HWCONTROL_NONE;
  huart3.Init.OverSampling = UART_OVERSAMPLING_16;
  if (HAL_UART_Init(&huart3) != HAL_OK)
  {
    Error_Handler();
  }

}

static void MX_GPIO_Init(void)
{
  GPIO_InitTypeDef GPIO_InitStruct = {0};

  /* GPIO Ports Clock Enable */
  __HAL_RCC_GPIOC_CLK_ENABLE();
  __HAL_RCC_GPIOH_CLK_ENABLE();
  __HAL_RCC_GPIOA_CLK_ENABLE();
  __HAL_RCC_GPIOB_CLK_ENABLE();
  __HAL_RCC_GPIOD_CLK_ENABLE();
  __HAL_RCC_GPIOG_CLK_ENABLE();

  /*Configure GPIO pin Output Level */
  HAL_GPIO_WritePin(GPIOB, LD1_Pin|LD3_Pin|LD2_Pin, GPIO_PIN_RESET);

  /*Configure GPIO pin Output Level */
  HAL_GPIO_WritePin(USB_PowerSwitchOn_GPIO_Port, USB_PowerSwitchOn_Pin, GPIO_PIN_RESET);

  /*Configure GPIO pin : USER_Btn_Pin */
  GPIO_InitStruct.Pin = USER_Btn_Pin;
  GPIO_InitStruct.Mode = GPIO_MODE_IT_RISING_FALLING;
  GPIO_InitStruct.Pull = GPIO_NOPULL;
  HAL_GPIO_Init(USER_Btn_GPIO_Port, &GPIO_InitStruct);

  /*Configure GPIO pins : RMII_MDC_Pin RMII_RXD0_Pin RMII_RXD1_Pin */
  GPIO_InitStruct.Pin = RMII_MDC_Pin|RMII_RXD0_Pin|RMII_RXD1_Pin;
  GPIO_InitStruct.Mode = GPIO_MODE_AF_PP;
  GPIO_InitStruct.Pull = GPIO_NOPULL;
  GPIO_InitStruct.Speed = GPIO_SPEED_FREQ_VERY_HIGH;
  GPIO_InitStruct.Alternate = GPIO_AF11_ETH;
  HAL_GPIO_Init(GPIOC, &GPIO_InitStruct);

  /*Configure GPIO pins : RMII_REF_CLK_Pin RMII_MDIO_Pin RMII_CRS_DV_Pin */
  GPIO_InitStruct.Pin = RMII_REF_CLK_Pin|RMII_MDIO_Pin|RMII_CRS_DV_Pin;
  GPIO_InitStruct.Mode = GPIO_MODE_AF_PP;
  GPIO_InitStruct.Pull = GPIO_NOPULL;
  GPIO_InitStruct.Speed = GPIO_SPEED_FREQ_VERY_HIGH;
  GPIO_InitStruct.Alternate = GPIO_AF11_ETH;
  HAL_GPIO_Init(GPIOA, &GPIO_InitStruct);

  /*Configure GPIO pins : LD1_Pin LD3_Pin LD2_Pin */
  GPIO_InitStruct.Pin = LD1_Pin|LD3_Pin|LD2_Pin;
  GPIO_InitStruct.Mode = GPIO_MODE_OUTPUT_PP;
  GPIO_InitStruct.Pull = GPIO_NOPULL;
  GPIO_InitStruct.Speed = GPIO_SPEED_FREQ_LOW;
  HAL_GPIO_Init(GPIOB, &GPIO_InitStruct);

  /*Configure GPIO pin : RMII_TXD1_Pin */
  GPIO_InitStruct.Pin = RMII_TXD1_Pin;
  GPIO_InitStruct.Mode = GPIO_MODE_AF_PP;
  GPIO_InitStruct.Pull = GPIO_NOPULL;
  GPIO_InitStruct.Speed = GPIO_SPEED_FREQ_VERY_HIGH;
  GPIO_InitStruct.Alternate = GPIO_AF11_ETH;
  HAL_GPIO_Init(RMII_TXD1_GPIO_Port, &GPIO_InitStruct);

  /*Configure GPIO pin : USB_PowerSwitchOn_Pin */
  GPIO_InitStruct.Pin = USB_PowerSwitchOn_Pin;
  GPIO_InitStruct.Mode = GPIO_MODE_OUTPUT_PP;
  GPIO_InitStruct.Pull = GPIO_NOPULL;
  GPIO_InitStruct.Speed = GPIO_SPEED_FREQ_LOW;
  HAL_GPIO_Init(USB_PowerSwitchOn_GPIO_Port, &GPIO_InitStruct);

  /*Configure GPIO pin : USB_OverCurrent_Pin */
  GPIO_InitStruct.Pin = USB_OverCurrent_Pin;
  GPIO_InitStruct.Mode = GPIO_MODE_INPUT;
  GPIO_InitStruct.Pull = GPIO_NOPULL;
  HAL_GPIO_Init(USB_OverCurrent_GPIO_Port, &GPIO_InitStruct);

  /*Configure GPIO pins : USB_SOF_Pin USB_ID_Pin USB_DM_Pin USB_DP_Pin */
  GPIO_InitStruct.Pin = USB_SOF_Pin|USB_ID_Pin|USB_DM_Pin|USB_DP_Pin;
  GPIO_InitStruct.Mode = GPIO_MODE_AF_PP;
  GPIO_InitStruct.Pull = GPIO_NOPULL;
  GPIO_InitStruct.Speed = GPIO_SPEED_FREQ_VERY_HIGH;
  GPIO_InitStruct.Alternate = GPIO_AF10_OTG_FS;
  HAL_GPIO_Init(GPIOA, &GPIO_InitStruct);

  /*Configure GPIO pin : USB_VBUS_Pin */
  GPIO_InitStruct.Pin = USB_VBUS_Pin;
  GPIO_InitStruct.Mode = GPIO_MODE_INPUT;
  GPIO_InitStruct.Pull = GPIO_NOPULL;
  HAL_GPIO_Init(USB_VBUS_GPIO_Port, &GPIO_InitStruct);

  /*Configure GPIO pins : RMII_TX_EN_Pin RMII_TXD0_Pin */
  GPIO_InitStruct.Pin = RMII_TX_EN_Pin|RMII_TXD0_Pin;
  GPIO_InitStruct.Mode = GPIO_MODE_AF_PP;
  GPIO_InitStruct.Pull = GPIO_NOPULL;
  GPIO_InitStruct.Speed = GPIO_SPEED_FREQ_VERY_HIGH;
  GPIO_InitStruct.Alternate = GPIO_AF11_ETH;
  HAL_GPIO_Init(GPIOG, &GPIO_InitStruct);

  /* EXTI interrupt init*/
  HAL_NVIC_SetPriority(EXTI15_10_IRQn, 0, 0);
  HAL_NVIC_EnableIRQ(EXTI15_10_IRQn);

}

/* USER CODE BEGIN 4 */

// Flash에 설정값 저장 (반드시 설정을 마친 후 호출)
void Save_Settings_To_Flash(void)
{
    FLASH_EraseInitTypeDef EraseInitStruct;
    uint32_t SectorError = 0;

    // 1. 데이터 준비
    NVitemTypeDef data_to_save;
    data_to_save.magic_num = MAGIC_NUM;
    // Process_Time_Setting에서 ctime = stime으로 설정했으므로,
    // 현재 설정된 시간이 ctime에 들어있음.
    data_to_save.setting_time = ctime;
    data_to_save.alarm_time = atime;
    data_to_save.alarm_music_num = current_state.music_num;
	data_to_save.alarm_enabled = current_state.alarm_enabled;
	data_to_save.volume = current_state.volume;

	// 인터럽트 비활성화
	__disable_irq();

    HAL_FLASH_Unlock();

    // 2. 섹터 지우기 (Sector 23)
    EraseInitStruct.TypeErase = FLASH_TYPEERASE_SECTORS;
    EraseInitStruct.VoltageRange = FLASH_VOLTAGE_RANGE_3;
    EraseInitStruct.Sector = FLASH_SECTOR_23;
    EraseInitStruct.NbSectors = 1;

    if (HAL_FLASHEx_Erase(&EraseInitStruct, &SectorError) != HAL_OK)
    {
        HAL_FLASH_Lock();
		__enable_irq(); // 인터럽트 다시 활성화
        return;
    }

    // 3. 데이터 쓰기
    uint32_t address = ADDR_FLASH_SECTOR_23;
    uint32_t *pData = (uint32_t *)&data_to_save;
    int size = sizeof(NVitemTypeDef) / 4;
    if (sizeof(NVitemTypeDef) % 4 != 0) size++;

    for (int i = 0; i < size; i++)
    {
        if (HAL_FLASH_Program(FLASH_TYPEPROGRAM_WORD, address + (i*4), pData[i]) != HAL_OK)
        {
             break;
        }
    }

    HAL_FLASH_Lock();
	__enable_irq(); // 인터럽트 다시 활성화
}

// 부팅 시 Flash에서 데이터 불러오기
void Load_Settings_From_Flash(void)
{
    if (nv_items->magic_num == MAGIC_NUM)
    {
        // 저장된 데이터가 있음
        ctime = nv_items->setting_time; // 저장된 시간으로 복구
        atime = nv_items->alarm_time;
        current_state.music_num = nv_items->alarm_music_num;
		current_state.alarm_enabled = nv_items->alarm_enabled;
		current_state.volume = nv_items->volume;

        current_state.mode = NORMAL_STATE;
    }
    else
    {
        // 초기 데이터 (공장 초기화 상태)
        ctime.hours = 12; ctime.minutes = 0; ctime.seconds = 0;
        atime.hours = 6; atime.minutes = 0; atime.seconds = 0;
        current_state.music_num = 0;
		current_state.alarm_enabled = 0;
		current_state.volume = 5; // Default volume

        stime = ctime;
		current_state.mode = TIME_SETTING;
		current_state.edit_pos = POS_HOUR;
    }
    // 설정용 변수 초기화
    current_state.display_timeout_timer = 0;
}
/* USER CODE END 4 */

void Error_Handler(void)
{
  __disable_irq();
  while (1)
  {
  }
}
